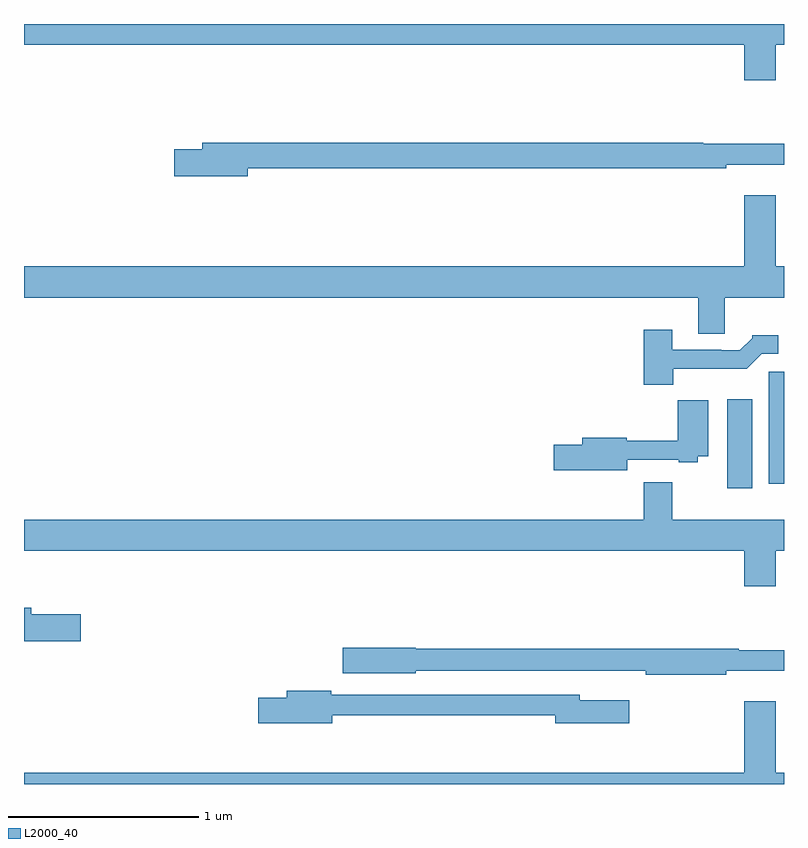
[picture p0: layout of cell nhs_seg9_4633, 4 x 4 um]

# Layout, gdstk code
import gdstk
lib = gdstk.Library(unit=1e-6, precision=1e-09)
def R(c, l, rs):  # rectangles x0, y0, x1, y1
    for r in rs: c.add(gdstk.rectangle(r[:2], r[2:], *l))
def P(c, l, *ps):  # polygons
    for p in ps: c.add(gdstk.Polygon(p, *l))
L2000_40 = (2000, 40)

nhs_seg9_4633 = lib.new_cell('nhs_seg9_4633')
R(nhs_seg9_4633, L2000_40, [(380.702,1222.056,380.833,1222.525), (380.921,1222.08,381,1222.671)])
P(nhs_seg9_4633, L2000_40, [(380.956,1224.392),(381,1224.392),(381,1224.5),(377,1224.5),(377,1224.392),(380.792,1224.392),(380.792,1224.204),(380.956,1224.204)],
  [(378.178,1223.74),(380.696,1223.74),(380.696,1223.759),(381,1223.759),(381,1223.869),(380.576,1223.869),(380.576,1223.876),(377.939,1223.876),(377.939,1223.84),(377.79,1223.84),(377.79,1223.698),(378.178,1223.698)],
  [(380.689,1223.06),(381,1223.06),(381,1223.224),(380.956,1223.224),(380.956,1223.599),(380.792,1223.599),(380.792,1223.224),(377,1223.224),(377,1223.06),(380.549,1223.06),(380.549,1222.87),(380.689,1222.87)],
  [(380.416,1222.686),(380.805,1222.686),(380.883,1222.764),(380.971,1222.764),(380.971,1222.861),(380.832,1222.861),(380.832,1222.846),(380.768,1222.782),(380.669,1222.782),(380.669,1222.785),(380.413,1222.785),(380.413,1222.891),(380.261,1222.891),(380.261,1222.601),(380.416,1222.601)],
  [(380.176,1222.206),(380.447,1222.206),(380.447,1222.194),(380.547,1222.194),(380.547,1222.226),(380.602,1222.226),(380.602,1222.519),(380.44,1222.519),(380.44,1222.307),(380.172,1222.307),(380.172,1222.322),(379.937,1222.322),(379.937,1222.286),(379.788,1222.286),(379.788,1222.151),(380.176,1222.151)],
  [(380.956,1221.728),(381,1221.728),(381,1221.892),(380.413,1221.892),(380.413,1222.087),(380.261,1222.087),(380.261,1221.892),(377,1221.892),(377,1221.728),(380.792,1221.728),(380.792,1221.54),(380.956,1221.54)],
  [(377.299,1221.393),(377.038,1221.393),(377.038,1221.427),(377,1221.427),(377,1221.251),(377.299,1221.251)],
  [(380.696,1221.095),(381,1221.095),(381,1221.205),(380.762,1221.205),(380.762,1221.212),(379.062,1221.212),(379.062,1221.218),(378.678,1221.218),(378.678,1221.083),(379.062,1221.083),(379.062,1221.096),(380.02,1221.096),(380.02,1221.095),(380.272,1221.095),(380.272,1221.076),(380.696,1221.076)],
  [(378.622,1220.862),(379.796,1220.862),(379.796,1220.819),(380.185,1220.819),(380.185,1220.941),(379.924,1220.941),(379.924,1220.97),(378.618,1220.97),(378.618,1220.99),(378.383,1220.99),(378.383,1220.954),(378.234,1220.954),(378.234,1220.819),(378.622,1220.819)],
  [(381,1220.56),(380.956,1220.56),(380.956,1220.935),(380.792,1220.935),(380.792,1220.56),(377,1220.56),(377,1220.5),(381,1220.5)])

lib.write_gds('nhs_seg9_4633.gds')
